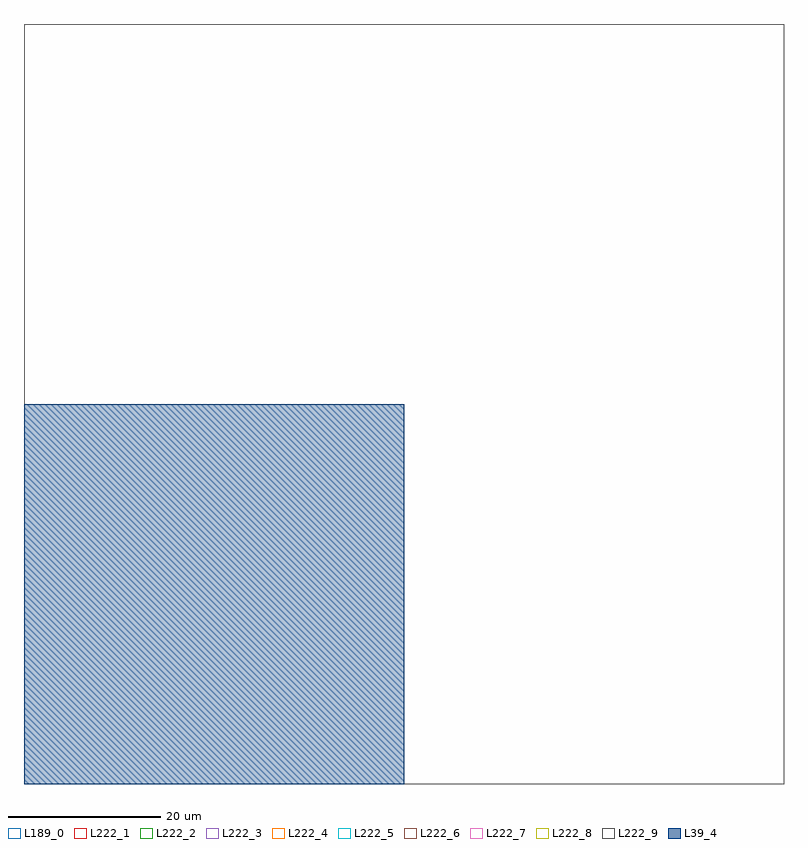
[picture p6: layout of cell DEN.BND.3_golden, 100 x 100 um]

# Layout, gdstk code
import gdstk
lib = gdstk.Library(unit=1e-6, precision=1e-09)
def R(c, l, rs):  # rectangles x0, y0, x1, y1
    for r in rs: c.add(gdstk.rectangle(r[:2], r[2:], *l))
L39_4 = (39, 4)
L189_0 = (189, 0)
L222_1 = (222, 1)
L222_2 = (222, 2)
L222_3 = (222, 3)
L222_4 = (222, 4)
L222_5 = (222, 5)
L222_6 = (222, 6)
L222_7 = (222, 7)
L222_8 = (222, 8)
L222_9 = (222, 9)

den_bnd_3_golden = lib.new_cell('DEN.BND.3_golden')
R(den_bnd_3_golden, L39_4, [(0,0,50,50)])
R(den_bnd_3_golden, L189_0, [(0,0,100,100)])
R(den_bnd_3_golden, L222_1, [(0,0,100,100)])
R(den_bnd_3_golden, L222_2, [(0,0,100,100)])
R(den_bnd_3_golden, L222_3, [(0,0,100,100)])
R(den_bnd_3_golden, L222_4, [(0,0,100,100)])
R(den_bnd_3_golden, L222_5, [(0,0,100,100)])
R(den_bnd_3_golden, L222_6, [(0,0,100,100)])
R(den_bnd_3_golden, L222_7, [(0,0,100,100)])
R(den_bnd_3_golden, L222_8, [(0,0,100,100)])
R(den_bnd_3_golden, L222_9, [(0,0,100,100)])

lib.write_gds('DEN.BND.3_golden.gds')
